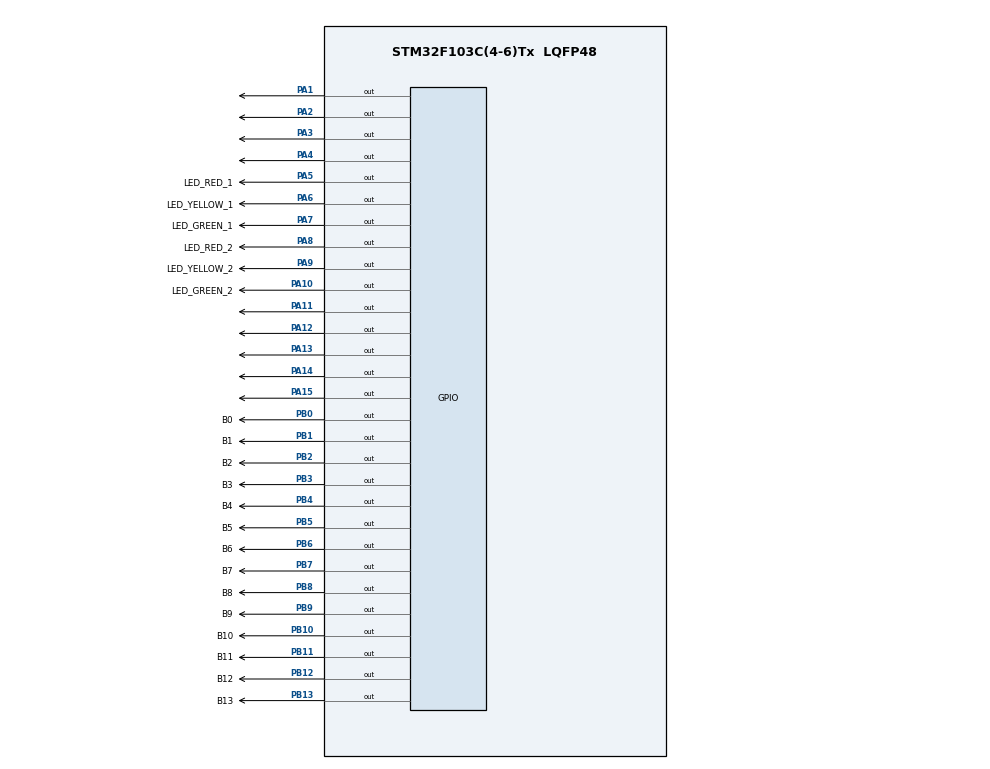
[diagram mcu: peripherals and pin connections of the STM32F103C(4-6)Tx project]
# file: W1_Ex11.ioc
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Mcu.Family=STM32F1
Mcu.Name=STM32F103C(4-6)Tx
Mcu.Package=LQFP48
NVIC.PriorityGroup=NVIC_PRIORITYGROUP_4
PA1.Signal=GPIO_Output
PA10.GPIO_Label=LED_GREEN_2
PA10.Signal=GPIO_Output
PA11.Signal=GPIO_Output
PA12.Signal=GPIO_Output
PA13.Signal=GPIO_Output
PA14.Signal=GPIO_Output
PA15.Signal=GPIO_Output
PA2.Signal=GPIO_Output
PA3.Signal=GPIO_Output
PA4.Signal=GPIO_Output
PA5.GPIO_Label=LED_RED_1
PA5.Signal=GPIO_Output
PA6.GPIO_Label=LED_YELLOW_1
PA6.Signal=GPIO_Output
PA7.GPIO_Label=LED_GREEN_1
PA7.Signal=GPIO_Output
PA8.GPIO_Label=LED_RED_2
PA8.Signal=GPIO_Output
PA9.GPIO_Label=LED_YELLOW_2
PA9.Signal=GPIO_Output
PB0.GPIO_Label=B0
PB0.Signal=GPIO_Output
PB1.GPIO_Label=B1
PB1.Signal=GPIO_Output
PB10.GPIO_Label=B10
PB10.Signal=GPIO_Output
PB11.GPIO_Label=B11
PB11.Signal=GPIO_Output
PB12.GPIO_Label=B12
PB12.Signal=GPIO_Output
PB13.GPIO_Label=B13
PB13.Signal=GPIO_Output
PB2.GPIO_Label=B2
PB2.Signal=GPIO_Output
PB3.GPIO_Label=B3
PB3.Signal=GPIO_Output
PB4.GPIO_Label=B4
PB4.Signal=GPIO_Output
PB5.GPIO_Label=B5
PB5.Signal=GPIO_Output
PB6.GPIO_Label=B6
PB6.Signal=GPIO_Output
PB7.GPIO_Label=B7
PB7.Signal=GPIO_Output
PB8.GPIO_Label=B8
PB8.Signal=GPIO_Output
PB9.GPIO_Label=B9
PB9.Signal=GPIO_Output
PD0-OSC_IN.Mode=HSE-External-Oscillator
PD0-OSC_IN.Signal=RCC_OSC_IN
PD1-OSC_OUT.Mode=HSE-External-Oscillator
PD1-OSC_OUT.Signal=RCC_OSC_OUT
ProjectManager.HeapSize=0x200
ProjectManager.StackSize=0x400
ProjectManager.TargetToolchain=STM32CubeIDE
RCC.APB1Freq_Value=8000000
RCC.APB2Freq_Value=8000000
VP_SYS_VS_ND.Mode=No_Debug
board=custom

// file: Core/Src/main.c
/* USER CODE BEGIN Header */
/**
  ******************************************************************************
  * @file           : main.c
  * @brief          : Main program body
  ******************************************************************************
  * @attention
  *
  * <h2><center>&copy; Copyright (c) 2021 STMicroelectronics.
  * All rights reserved.</center></h2>
  *
  * This software component is licensed by ST under BSD 3-Clause license,
  * the "License"; You may not use this file except in compliance with the
  * License. You may obtain a copy of the License at:
  *                        opensource.org/licenses/BSD-3-Clause
  *
  ******************************************************************************
  */
/* USER CODE END Header */
#include "main.h"

/* USER CODE BEGIN PM */
int NUM[10][7]={
		{0,0,0,0,0,0,1},
		{1,0,0,1,1,1,1},
		{0,0,1,0,0,1,0},
		{0,0,0,0,1,1,0},
		{1,0,0,1,1,0,0},
		{0,1,0,0,1,0,0},
		{0,1,0,0,0,0,0},
		{0,0,0,1,1,1,1},
		{0,0,0,0,0,0,0},
		{0,0,0,0,1,0,0},
};

void display7SEG_1(int num)
{
	HAL_GPIO_WritePin(B0_GPIO_Port, B0_Pin, NUM[num][0]);
	HAL_GPIO_WritePin(B1_GPIO_Port, B1_Pin, NUM[num][1]);
	HAL_GPIO_WritePin(B2_GPIO_Port, B2_Pin, NUM[num][2]);
	HAL_GPIO_WritePin(B3_GPIO_Port, B3_Pin, NUM[num][3]);
	HAL_GPIO_WritePin(B4_GPIO_Port, B4_Pin, NUM[num][4]);
	HAL_GPIO_WritePin(B5_GPIO_Port, B5_Pin, NUM[num][5]);
	HAL_GPIO_WritePin(B6_GPIO_Port, B6_Pin, NUM[num][6]);
}
void display7SEG_2(int num)
{
	HAL_GPIO_WritePin(B7_GPIO_Port, B7_Pin, NUM[num][0]);
	HAL_GPIO_WritePin(B8_GPIO_Port, B8_Pin, NUM[num][1]);
	HAL_GPIO_WritePin(B9_GPIO_Port, B9_Pin, NUM[num][2]);
	HAL_GPIO_WritePin(B10_GPIO_Port, B10_Pin, NUM[num][3]);
	HAL_GPIO_WritePin(B11_GPIO_Port, B11_Pin, NUM[num][4]);
	HAL_GPIO_WritePin(B12_GPIO_Port, B12_Pin, NUM[num][5]);
	HAL_GPIO_WritePin(B13_GPIO_Port, B13_Pin, NUM[num][6]);
}

/* USER CODE END PM */

void SystemClock_Config(void);
static void MX_GPIO_Init(void);

int main(void)
{

  /* MCU Configuration--------------------------------------------------------*/

  /* Reset of all peripherals, Initializes the Flash interface and the Systick. */
  HAL_Init();

  /* Configure the system clock */
  SystemClock_Config();

  /* Initialize all configured peripherals */
  MX_GPIO_Init();

  /* Infinite loop */
  /* USER CODE BEGIN WHILE */
  HAL_GPIO_WritePin(GPIOA, LED_RED_1_Pin, 1);
  HAL_GPIO_WritePin(GPIOA, LED_YELLOW_1_Pin, 1);
  HAL_GPIO_WritePin(GPIOA, LED_GREEN_1_Pin, 1);

  HAL_GPIO_WritePin(GPIOA, LED_RED_2_Pin, 1);
  HAL_GPIO_WritePin(GPIOA, LED_YELLOW_2_Pin, 1);
  HAL_GPIO_WritePin(GPIOA, LED_GREEN_2_Pin, 1);
  /* Infinite loop */
  /* USER CODE BEGIN WHILE */
  int counter1 = 0;
  int counter2 = 0;
  while (1)
  {
    /* USER CODE END WHILE */
	  	  counter1 = 3;
	  	  counter2 = 5;

	  	  HAL_GPIO_WritePin(GPIOA, LED_RED_2_Pin, 0);			// Turn on RED_LED_2

	  	  HAL_GPIO_WritePin(GPIOA, LED_GREEN_1_Pin, 0);			// Turn on GREEN_LED_1 3s
	  	  display7SEG_1(counter1--);							// 7SEG_1: 3s
	  	  display7SEG_2(counter2--);							// 7SEG_2: 5s
	  	  HAL_Delay(1000);
	  	  display7SEG_1(counter1--);							// 7SEG_1: 2s
	  	  display7SEG_2(counter2--);							// 7SEG_2: 4s
	  	  HAL_Delay(1000);
	  	  display7SEG_1(counter1--);							// 7SEG_1: 1s
	  	  display7SEG_2(counter2--);							// 7SEG_2: 3s
	  	  HAL_Delay(1000);
	  	  HAL_GPIO_WritePin(GPIOA, LED_GREEN_1_Pin, 1);

	  	  counter1 = 2;
	  	  HAL_GPIO_WritePin(GPIOA, LED_YELLOW_1_Pin, 0);		// Turn on YELLOW_LED_1 2s
	  	  display7SEG_1(counter1--);							// 7SEG_1: 2s
	  	  display7SEG_2(counter2--);							// 7SEG_2: 2s
	  	  HAL_Delay(1000);
	  	  display7SEG_1(counter1--);							// 7SEG_1: 1s
	  	  display7SEG_2(counter2--);							// 7SEG_2: 1s
	  	  HAL_Delay(1000);
	  	  HAL_GPIO_WritePin(GPIOA, LED_YELLOW_1_Pin, 1);

	  	  HAL_GPIO_WritePin(GPIOA, LED_RED_2_Pin, 1);			// Turn off RED_LED_2 after 5s

	  	  counter1 = 3;
	  	  counter2 = 5;

	  	  HAL_GPIO_WritePin(GPIOA, LED_RED_1_Pin, 0);			// Turn on RED_LED_1

	  	  HAL_GPIO_WritePin(GPIOA, LED_GREEN_2_Pin, 0);			// Turn on GREEN_LED_2 3s
	  	  display7SEG_1(counter2--);							// 7SEG_1: 3s
	  	  display7SEG_2(counter1--);							// 7SEG_2: 5s
	  	  HAL_Delay(1000);
	  	  display7SEG_1(counter2--);							// 7SEG_1: 2s
	  	  display7SEG_2(counter1--);							// 7SEG_2: 4s
	  	  HAL_Delay(1000);
	  	  display7SEG_1(counter2--);							// 7SEG_1: 1s
	  	  display7SEG_2(counter1--);							// 7SEG_2: 3s
	  	  HAL_Delay(1000);
	  	  HAL_GPIO_WritePin(GPIOA, LED_GREEN_2_Pin, 1);

	  	  counter1 = 2;
	  	  HAL_GPIO_WritePin(GPIOA, LED_YELLOW_2_Pin, 0);		// Turn on YELLOW_LED_2 2s
	  	  display7SEG_1(counter2--);							// 7SEG_1: 2s
	  	  display7SEG_2(counter1--);							// 7SEG_2: 2s
	  	  HAL_Delay(1000);
	  	  display7SEG_1(counter2--);							// 7SEG_1: 1s
	  	  display7SEG_2(counter1--);							// 7SEG_2: 1s
	  	  HAL_Delay(1000);
	  	  HAL_GPIO_WritePin(GPIOA, LED_YELLOW_2_Pin, 1);

	  	  HAL_GPIO_WritePin(GPIOA, LED_RED_1_Pin, 1);			// Turn off RED_LED_1 after 5s
  }
}

void SystemClock_Config(void)
{
  RCC_OscInitTypeDef RCC_OscInitStruct = {0};
  RCC_ClkInitTypeDef RCC_ClkInitStruct = {0};

  /** Initializes the RCC Oscillators according to the specified parameters
  * in the RCC_OscInitTypeDef structure.
  */
  RCC_OscInitStruct.OscillatorType = RCC_OSCILLATORTYPE_HSI;
  RCC_OscInitStruct.HSIState = RCC_HSI_ON;
  RCC_OscInitStruct.HSICalibrationValue = RCC_HSICALIBRATION_DEFAULT;
  RCC_OscInitStruct.PLL.PLLState = RCC_PLL_NONE;
  if (HAL_RCC_OscConfig(&RCC_OscInitStruct) != HAL_OK)
  {
    Error_Handler();
  }
  /** Initializes the CPU, AHB and APB buses clocks
  */
  RCC_ClkInitStruct.ClockType = RCC_CLOCKTYPE_HCLK|RCC_CLOCKTYPE_SYSCLK
                              |RCC_CLOCKTYPE_PCLK1|RCC_CLOCKTYPE_PCLK2;
  RCC_ClkInitStruct.SYSCLKSource = RCC_SYSCLKSOURCE_HSI;
  RCC_ClkInitStruct.AHBCLKDivider = RCC_SYSCLK_DIV1;
  RCC_ClkInitStruct.APB1CLKDivider = RCC_HCLK_DIV1;
  RCC_ClkInitStruct.APB2CLKDivider = RCC_HCLK_DIV1;

  if (HAL_RCC_ClockConfig(&RCC_ClkInitStruct, FLASH_LATENCY_0) != HAL_OK)
  {
    Error_Handler();
  }
}

static void MX_GPIO_Init(void)
{
  GPIO_InitTypeDef GPIO_InitStruct = {0};

  /* GPIO Ports Clock Enable */
  __HAL_RCC_GPIOD_CLK_ENABLE();
  __HAL_RCC_GPIOA_CLK_ENABLE();
  __HAL_RCC_GPIOB_CLK_ENABLE();

  /*Configure GPIO pin Output Level */
  HAL_GPIO_WritePin(GPIOA, GPIO_PIN_1|GPIO_PIN_2|GPIO_PIN_3|GPIO_PIN_4
                          |LED_RED_1_Pin|LED_YELLOW_1_Pin|LED_GREEN_1_Pin|LED_RED_2_Pin
                          |LED_YELLOW_2_Pin|LED_GREEN_2_Pin|GPIO_PIN_11|GPIO_PIN_12
                          |GPIO_PIN_13|GPIO_PIN_14|GPIO_PIN_15, GPIO_PIN_RESET);

  /*Configure GPIO pin Output Level */
  HAL_GPIO_WritePin(GPIOB, B0_Pin|B1_Pin|B2_Pin|B10_Pin
                          |B11_Pin|B12_Pin|B13_Pin|B3_Pin
                          |B4_Pin|B5_Pin|B6_Pin|B7_Pin
                          |B8_Pin|B9_Pin, GPIO_PIN_RESET);

  /*Configure GPIO pins : PA1 PA2 PA3 PA4
                           LED_RED_1_Pin LED_YELLOW_1_Pin LED_GREEN_1_Pin LED_RED_2_Pin
                           LED_YELLOW_2_Pin LED_GREEN_2_Pin PA11 PA12
                           PA13 PA14 PA15 */
  GPIO_InitStruct.Pin = GPIO_PIN_1|GPIO_PIN_2|GPIO_PIN_3|GPIO_PIN_4
                          |LED_RED_1_Pin|LED_YELLOW_1_Pin|LED_GREEN_1_Pin|LED_RED_2_Pin
                          |LED_YELLOW_2_Pin|LED_GREEN_2_Pin|GPIO_PIN_11|GPIO_PIN_12
                          |GPIO_PIN_13|GPIO_PIN_14|GPIO_PIN_15;
  GPIO_InitStruct.Mode = GPIO_MODE_OUTPUT_PP;
  GPIO_InitStruct.Pull = GPIO_NOPULL;
  GPIO_InitStruct.Speed = GPIO_SPEED_FREQ_LOW;
  HAL_GPIO_Init(GPIOA, &GPIO_InitStruct);

  /*Configure GPIO pins : B0_Pin B1_Pin B2_Pin B10_Pin
                           B11_Pin B12_Pin B13_Pin B3_Pin
                           B4_Pin B5_Pin B6_Pin B7_Pin
                           B8_Pin B9_Pin */
  GPIO_InitStruct.Pin = B0_Pin|B1_Pin|B2_Pin|B10_Pin
                          |B11_Pin|B12_Pin|B13_Pin|B3_Pin
                          |B4_Pin|B5_Pin|B6_Pin|B7_Pin
                          |B8_Pin|B9_Pin;
  GPIO_InitStruct.Mode = GPIO_MODE_OUTPUT_PP;
  GPIO_InitStruct.Pull = GPIO_NOPULL;
  GPIO_InitStruct.Speed = GPIO_SPEED_FREQ_LOW;
  HAL_GPIO_Init(GPIOB, &GPIO_InitStruct);

}

void Error_Handler(void)
{
  __disable_irq();
  while (1)
  {
  }
}

/************************ (C) COPYRIGHT STMicroelectronics *****END OF FILE****/
